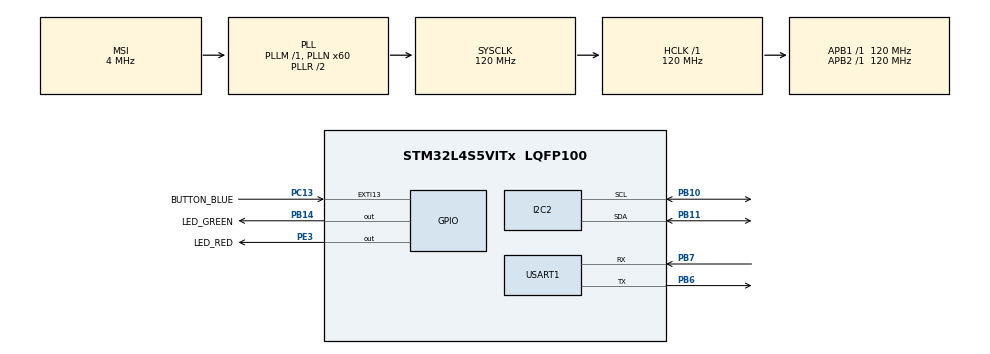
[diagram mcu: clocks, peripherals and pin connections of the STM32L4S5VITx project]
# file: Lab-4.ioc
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Mcu.Family=STM32L4
RCC.MSI_VALUE=4000000
VP_SYS_VS_tim6.Mode=TIM6
RCC.CortexFreq_Value=120000000
FREERTOS.Tasks01=defaultTask,0,128,StartDefaultTask,Default,NULL,Dynamic,NULL,NULL
PB10.Mode=I2C
NVIC.TIM6_DAC_IRQn=true\:0\:0\:false\:false\:true\:false\:false\:true
PC13.Signal=GPXTI13
PB14.GPIO_Label=LED_GREEN
I2C2.Timing=0x307075B1
PC13.GPIO_Label=BUTTON_BLUE
PB11.Signal=I2C2_SDA
RCC.SYSCLKSource=RCC_SYSCLKSOURCE_PLLCLK
ProjectManager.StackSize=0x400
USART1.VirtualMode-Asynchronous=VM_ASYNC
PB11.Mode=I2C
ProjectManager.TargetToolchain=STM32CubeIDE
RCC.HCLKFreq_Value=120000000
RCC.APB2TimFreq_Value=120000000
PB6.Signal=USART1_TX
PB6.Mode=Asynchronous
RCC.USBFreq_Value=48000000
RCC.AHBFreq_Value=120000000
PB10.Signal=I2C2_SCL
NVIC.EXTI15_10_IRQn=true\:5\:0\:false\:false\:true\:true\:true\:true
PB14.Signal=GPIO_Output
RCC.HSE_VALUE=8000000
board=B-L4S5I-IOT01A
RCC.VCOOutputFreq_Value=240000000
RCC.APB2Freq_Value=120000000
RCC.ADCFreq_Value=48000000
PB7.Signal=USART1_RX
VP_FREERTOS_VS_CMSIS_V1.Mode=CMSIS_V1
Mcu.Name=STM32L4S5VITx
RCC.SYSCLKFreq_VALUE=120000000
Mcu.Package=LQFP100
NVIC.TimeBase=TIM6_DAC_IRQn
PB7.Mode=Asynchronous
NVIC.TimeBaseIP=TIM6
ProjectManager.HeapSize=0x200
RCC.HSI_VALUE=16000000
NVIC.PriorityGroup=NVIC_PRIORITYGROUP_4
RCC.PLLN=60
RCC.APB1TimFreq_Value=120000000
PE3.Signal=GPIO_Output
PE3.GPIO_Label=LED_RED
RCC.APB1Freq_Value=120000000
RCC.HSI48_VALUE=48000000
RCC.PLLSAI1N=24

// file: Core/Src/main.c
/* USER CODE BEGIN Header */
/**
  ******************************************************************************
  * @file           : main.c
  * @brief          : Main program body
  ******************************************************************************
  * @attention
  *
  * <h2><center>&copy; Copyright (c) 2021 STMicroelectronics.
  * All rights reserved.</center></h2>
  *
  * This software component is licensed by ST under BSD 3-Clause license,
  * the "License"; You may not use this file except in compliance with the
  * License. You may obtain a copy of the License at:
  *                        opensource.org/licenses/BSD-3-Clause
  *
  ******************************************************************************
  */
/* USER CODE END Header */
#include "main.h"
#include "cmsis_os.h"

/* USER CODE BEGIN Includes */
#include "SupportFiles/B-L4S5I-IOT01/stm32l4s5i_iot01_accelero.h"
#include "SupportFiles/B-L4S5I-IOT01/stm32l4s5i_iot01_gyro.h"
#include "SupportFiles/B-L4S5I-IOT01/stm32l4s5i_iot01_magneto.h"
#include "SupportFiles/B-L4S5I-IOT01/stm32l4s5i_iot01_hsensor.h"

#include <stdio.h>
#include <string.h>
/* USER CODE END Includes */

/* USER CODE BEGIN PD */
#define I2C_UART
//#define MODE_CHANGE
//#define FREE_RTOS
/* USER CODE END PD */

I2C_HandleTypeDef hi2c2;

UART_HandleTypeDef huart1;

osThreadId defaultTaskHandle;
/* USER CODE BEGIN PV */
char str[100];
uint32_t currentMode = 0;

#ifdef FREE_RTOS
osMutexId mutex_id;
osThreadId transmitTaskHandle;
osThreadId readSensorTaskHandle;
uint32_t isButtonPressed = 0;
int16_t magneto[3];
int16_t accelero[3];
float hsensor;
float gyro[3];
#endif
/* USER CODE END PV */

void SystemClock_Config(void);
static void MX_GPIO_Init(void);
static void MX_I2C2_Init(void);
static void MX_USART1_UART_Init(void);
void StartDefaultTask(void const * argument);

/* USER CODE BEGIN PFP */
void StartTransmitTask(void const * argument);
void StartReadSensorTask(void const * argument);
/* USER CODE END PFP */

int main(void)
{

  /* MCU Configuration--------------------------------------------------------*/

  /* Reset of all peripherals, Initializes the Flash interface and the Systick. */
  HAL_Init();

  /* Configure the system clock */
  SystemClock_Config();

  /* Initialize all configured peripherals */
  MX_GPIO_Init();
  MX_I2C2_Init();
  MX_USART1_UART_Init();
  /* USER CODE BEGIN 2 */

#ifdef I2C_UART || MODE_CHANGE
  BSP_ACCELERO_Init();
  BSP_GYRO_Init();
  BSP_MAGNETO_Init();
  BSP_HSENSOR_Init();
#endif

  //initialize UART
  HAL_UART_Init(&huart1);

#ifdef I2C_UART || MODE_CHANGE
  int16_t magneto[3];
  int16_t accelero[3];
  float hsensor;
  float gyro[3];
#endif

  /* USER CODE END 2 */

  /* USER CODE BEGIN RTOS_MUTEX */
  /* add mutexes, ... */
#ifdef FREE_RTOS
  	osMutexDef(Mutex);
  	mutex_id = osMutexCreate(osMutex(Mutex));

  /* USER CODE END RTOS_MUTEX */

  /* Create the thread(s) */
  /* definition and creation of defaultTask */
  osThreadDef(defaultTask, StartDefaultTask, osPriorityNormal, 0, 128);
  defaultTaskHandle = osThreadCreate(osThread(defaultTask), NULL);

  /* USER CODE BEGIN RTOS_THREADS */
  /* add threads, ... */
  /* definition and creation of transmitTask */
  osThreadDef(transmitTask, StartTransmitTask, osPriorityNormal, 0, 128);
  transmitTaskHandle = osThreadCreate(osThread(transmitTask), NULL);

  /* definition and creation of readSensorsTask */
  osThreadDef(readSensorTask, StartReadSensorTask, osPriorityNormal, 0, 128);
  readSensorTaskHandle = osThreadCreate(osThread(readSensorTask), NULL);

  /* USER CODE END RTOS_THREADS */

  /* Start scheduler */
  osKernelStart();

  /* We should never get here as control is now taken by the scheduler */
  /* Infinite loop */
  /* USER CODE BEGIN WHILE */
#endif
  while (1)
  {
    /* USER CODE END WHILE */

    /* USER CODE BEGIN 3 */
#ifdef I2C_UART || MODE_CHANGE
	BSP_GYRO_GetXYZ(gyro);
	BSP_ACCELERO_AccGetXYZ(accelero);
	BSP_MAGNETO_GetXYZ(magneto);
	hsensor = BSP_HSENSOR_ReadHumidity();

	switch(currentMode){
	case 0:
		sprintf(str, "Gyro Sensor X, Y, Z: %.2d, %.2d, %.2d\n", (int) gyro[0], (int) gyro[1], (int) gyro[2]);
		break;
	case 1:
		sprintf(str, "Acceleration X, Y, Z: %.2d, %.2d, %.2d\n", (int) accelero[0], (int) accelero[1], (int) accelero[2]);
		break;
	case 2:
		sprintf(str, "Magnetic X, Y, Z: %.2d, %.2d, %.2d\n", (int) magneto[0], (int) magneto[1], (int) magneto[2]);
		break;
	case 3:
		sprintf(str, "Humidity: %.2d\n", (int) hsensor);
		break;
	}
	HAL_UART_Transmit(&huart1, (uint8_t*) str, (uint16_t) strlen(str), 10000);
	HAL_Delay(100); // (1/10Hz) = 0.1s = 100ms delay
#endif
  }
  /* USER CODE END 3 */
}

void SystemClock_Config(void)
{
  RCC_OscInitTypeDef RCC_OscInitStruct = {0};
  RCC_ClkInitTypeDef RCC_ClkInitStruct = {0};
  RCC_PeriphCLKInitTypeDef PeriphClkInit = {0};

  /** Configure the main internal regulator output voltage
  */
  if (HAL_PWREx_ControlVoltageScaling(PWR_REGULATOR_VOLTAGE_SCALE1_BOOST) != HAL_OK)
  {
    Error_Handler();
  }
  /** Initializes the RCC Oscillators according to the specified parameters
  * in the RCC_OscInitTypeDef structure.
  */
  RCC_OscInitStruct.OscillatorType = RCC_OSCILLATORTYPE_MSI;
  RCC_OscInitStruct.MSIState = RCC_MSI_ON;
  RCC_OscInitStruct.MSICalibrationValue = 0;
  RCC_OscInitStruct.MSIClockRange = RCC_MSIRANGE_6;
  RCC_OscInitStruct.PLL.PLLState = RCC_PLL_ON;
  RCC_OscInitStruct.PLL.PLLSource = RCC_PLLSOURCE_MSI;
  RCC_OscInitStruct.PLL.PLLM = 1;
  RCC_OscInitStruct.PLL.PLLN = 60;
  RCC_OscInitStruct.PLL.PLLP = RCC_PLLP_DIV2;
  RCC_OscInitStruct.PLL.PLLQ = RCC_PLLQ_DIV2;
  RCC_OscInitStruct.PLL.PLLR = RCC_PLLR_DIV2;
  if (HAL_RCC_OscConfig(&RCC_OscInitStruct) != HAL_OK)
  {
    Error_Handler();
  }
  /** Initializes the CPU, AHB and APB buses clocks
  */
  RCC_ClkInitStruct.ClockType = RCC_CLOCKTYPE_HCLK|RCC_CLOCKTYPE_SYSCLK
                              |RCC_CLOCKTYPE_PCLK1|RCC_CLOCKTYPE_PCLK2;
  RCC_ClkInitStruct.SYSCLKSource = RCC_SYSCLKSOURCE_PLLCLK;
  RCC_ClkInitStruct.AHBCLKDivider = RCC_SYSCLK_DIV1;
  RCC_ClkInitStruct.APB1CLKDivider = RCC_HCLK_DIV1;
  RCC_ClkInitStruct.APB2CLKDivider = RCC_HCLK_DIV1;

  if (HAL_RCC_ClockConfig(&RCC_ClkInitStruct, FLASH_LATENCY_5) != HAL_OK)
  {
    Error_Handler();
  }
  PeriphClkInit.PeriphClockSelection = RCC_PERIPHCLK_USART1|RCC_PERIPHCLK_I2C2;
  PeriphClkInit.Usart1ClockSelection = RCC_USART1CLKSOURCE_PCLK2;
  PeriphClkInit.I2c2ClockSelection = RCC_I2C2CLKSOURCE_PCLK1;
  if (HAL_RCCEx_PeriphCLKConfig(&PeriphClkInit) != HAL_OK)
  {
    Error_Handler();
  }
}

static void MX_I2C2_Init(void)
{

  hi2c2.Instance = I2C2;
  hi2c2.Init.Timing = 0x307075B1;
  hi2c2.Init.OwnAddress1 = 0;
  hi2c2.Init.AddressingMode = I2C_ADDRESSINGMODE_7BIT;
  hi2c2.Init.DualAddressMode = I2C_DUALADDRESS_DISABLE;
  hi2c2.Init.OwnAddress2 = 0;
  hi2c2.Init.OwnAddress2Masks = I2C_OA2_NOMASK;
  hi2c2.Init.GeneralCallMode = I2C_GENERALCALL_DISABLE;
  hi2c2.Init.NoStretchMode = I2C_NOSTRETCH_DISABLE;
  if (HAL_I2C_Init(&hi2c2) != HAL_OK)
  {
    Error_Handler();
  }
  /** Configure Analogue filter
  */
  if (HAL_I2CEx_ConfigAnalogFilter(&hi2c2, I2C_ANALOGFILTER_ENABLE) != HAL_OK)
  {
    Error_Handler();
  }
  /** Configure Digital filter
  */
  if (HAL_I2CEx_ConfigDigitalFilter(&hi2c2, 0) != HAL_OK)
  {
    Error_Handler();
  }

}

static void MX_USART1_UART_Init(void)
{

  huart1.Instance = USART1;
  huart1.Init.BaudRate = 115200;
  huart1.Init.WordLength = UART_WORDLENGTH_8B;
  huart1.Init.StopBits = UART_STOPBITS_1;
  huart1.Init.Parity = UART_PARITY_NONE;
  huart1.Init.Mode = UART_MODE_TX_RX;
  huart1.Init.HwFlowCtl = UART_HWCONTROL_NONE;
  huart1.Init.OverSampling = UART_OVERSAMPLING_16;
  huart1.Init.OneBitSampling = UART_ONE_BIT_SAMPLE_DISABLE;
  huart1.Init.ClockPrescaler = UART_PRESCALER_DIV1;
  huart1.AdvancedInit.AdvFeatureInit = UART_ADVFEATURE_NO_INIT;
  if (HAL_UART_Init(&huart1) != HAL_OK)
  {
    Error_Handler();
  }
  if (HAL_UARTEx_SetTxFifoThreshold(&huart1, UART_TXFIFO_THRESHOLD_1_8) != HAL_OK)
  {
    Error_Handler();
  }
  if (HAL_UARTEx_SetRxFifoThreshold(&huart1, UART_RXFIFO_THRESHOLD_1_8) != HAL_OK)
  {
    Error_Handler();
  }
  if (HAL_UARTEx_DisableFifoMode(&huart1) != HAL_OK)
  {
    Error_Handler();
  }

}

static void MX_GPIO_Init(void)
{
  GPIO_InitTypeDef GPIO_InitStruct = {0};

  /* GPIO Ports Clock Enable */
  __HAL_RCC_GPIOE_CLK_ENABLE();
  __HAL_RCC_GPIOC_CLK_ENABLE();
  __HAL_RCC_GPIOB_CLK_ENABLE();

  /*Configure GPIO pin Output Level */
  HAL_GPIO_WritePin(LED_RED_GPIO_Port, LED_RED_Pin, GPIO_PIN_RESET);

  /*Configure GPIO pin Output Level */
  HAL_GPIO_WritePin(LED_GREEN_GPIO_Port, LED_GREEN_Pin, GPIO_PIN_RESET);

  /*Configure GPIO pin : LED_RED_Pin */
  GPIO_InitStruct.Pin = LED_RED_Pin;
  GPIO_InitStruct.Mode = GPIO_MODE_OUTPUT_PP;
  GPIO_InitStruct.Pull = GPIO_NOPULL;
  GPIO_InitStruct.Speed = GPIO_SPEED_FREQ_LOW;
  HAL_GPIO_Init(LED_RED_GPIO_Port, &GPIO_InitStruct);

  /*Configure GPIO pin : BUTTON_BLUE_Pin */
  GPIO_InitStruct.Pin = BUTTON_BLUE_Pin;
  GPIO_InitStruct.Mode = GPIO_MODE_IT_RISING;
  GPIO_InitStruct.Pull = GPIO_NOPULL;
  HAL_GPIO_Init(BUTTON_BLUE_GPIO_Port, &GPIO_InitStruct);

  /*Configure GPIO pin : LED_GREEN_Pin */
  GPIO_InitStruct.Pin = LED_GREEN_Pin;
  GPIO_InitStruct.Mode = GPIO_MODE_OUTPUT_PP;
  GPIO_InitStruct.Pull = GPIO_NOPULL;
  GPIO_InitStruct.Speed = GPIO_SPEED_FREQ_LOW;
  HAL_GPIO_Init(LED_GREEN_GPIO_Port, &GPIO_InitStruct);

  /* EXTI interrupt init*/
  HAL_NVIC_SetPriority(EXTI15_10_IRQn, 5, 0);
  HAL_NVIC_EnableIRQ(EXTI15_10_IRQn);

}

/* USER CODE BEGIN 4 */
void HAL_GPIO_EXTI_Callback(uint16_t GPIO_Pin) {
	HAL_GPIO_TogglePin(LED_GREEN_GPIO_Port, LED_GREEN_Pin);

#ifdef I2C_UART || MODE_CHANGE
	currentMode = (currentMode + 1) % 4;
#endif

#ifdef FREE_RTOS
	isButtonPressed = 1;
#endif

}

/* USER CODE END 4 */
#ifdef FREE_RTOS
void StartDefaultTask(void const * argument)
{
  /* USER CODE BEGIN 5 */
// This default task should control changing the mode
  /* Infinite loop */
  for(;;)
  {
    osDelay(100);
    osMutexWait(mutex_id, osWaitForever);
    if (isButtonPressed) {
      	isButtonPressed = 0;
      	currentMode = (currentMode + 1) % 4;
      }
    osMutexRelease(mutex_id);
  }
  /* USER CODE END 5 */
}

void StartTransmitTask(void const * argument)
{
  /* USER CODE BEGIN StartTransmitTask */
  // UART status
  HAL_UART_Init(&huart1);
  /* Infinite loop */
  for(;;)
  {
    osDelay(100);
    osMutexWait(mutex_id, osWaitForever);
	switch(currentMode){
	case 0:
		sprintf(str, "Gyro Sensor X, Y, Z: %.2d, %.2d, %.2d\n", (int) gyro[0], (int) gyro[1], (int) gyro[2]);
		break;
	case 1:
		sprintf(str, "Acceleration X, Y, Z: %.2d, %.2d, %.2d\n", (int) accelero[0], (int) accelero[1], (int) accelero[2]);
		break;
	case 2:
		sprintf(str, "Magnetic X, Y, Z: %.2d, %.2d, %.2d\n", (int) magneto[0], (int) magneto[1], (int) magneto[2]);
		break;
	case 3:
		sprintf(str, "Humidity: %.2d\n", (int) hsensor);
		break;
	}
	HAL_UART_Transmit(&huart1, (uint8_t*) str, (uint16_t) strlen(str), 10000);
	osMutexRelease(mutex_id);
  }
  /* USER CODE END StartTransmitTask */
}

void StartReadSensorTask(void const * argument)
{
  /* USER CODE BEGIN StartReadSensorsTask */
	BSP_ACCELERO_Init();
	BSP_GYRO_Init();
	BSP_MAGNETO_Init();
	BSP_HSENSOR_Init();
  /* Infinite loop */
  for(;;)
  {
    osDelay(100);
    //get lock before entering critical section
    osMutexWait(mutex_id, osWaitForever);
	BSP_GYRO_GetXYZ(gyro);
	BSP_ACCELERO_AccGetXYZ(accelero);
	BSP_MAGNETO_GetXYZ(magneto);
	hsensor = BSP_HSENSOR_ReadHumidity();
	osMutexRelease(mutex_id);

  }
  /* USER CODE END StartReadSensorsTask */
}
#endif

 /**
  * @brief  Period elapsed callback in non blocking mode
  * @note   This function is called  when TIM6 interrupt took place, inside
  * HAL_TIM_IRQHandler(). It makes a direct call to HAL_IncTick() to increment
  * a global variable "uwTick" used as application time base.
  * @param  htim : TIM handle
  * @retval None
  */
void HAL_TIM_PeriodElapsedCallback(TIM_HandleTypeDef *htim)
{
  if (htim->Instance == TIM6) {
    HAL_IncTick();
  }
}

void Error_Handler(void)
{
  __disable_irq();
  while (1)
  {
  }
}

/************************ (C) COPYRIGHT STMicroelectronics *****END OF FILE****/
